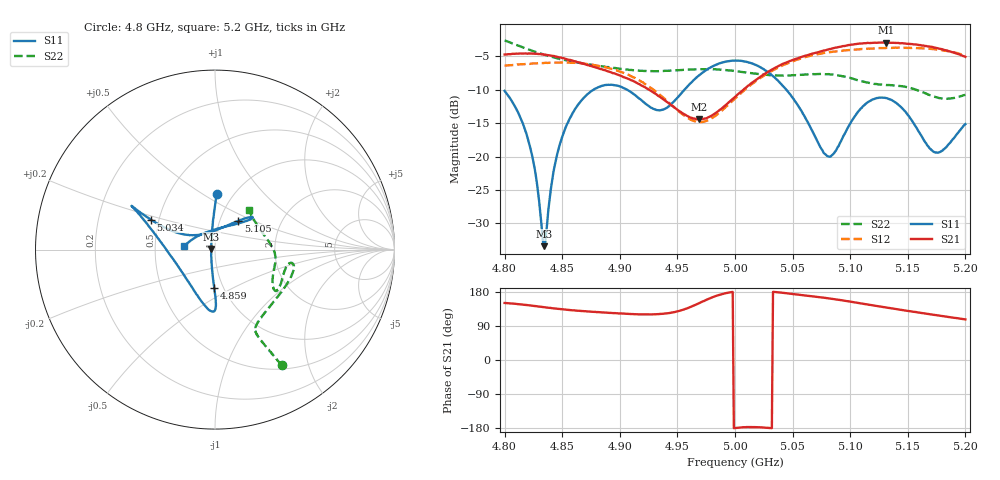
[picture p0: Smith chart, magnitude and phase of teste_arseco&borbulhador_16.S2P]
! Network Analyzer HP8722D
! Hewlett-Packard
! Data name: Linha & Wilkinson
! Saver's name: Rodrigo Anjos
! Comments: Teste da utilização de aquisição
! continua pelo VNA HP8722D
! Time and date: 15/4/2025 15:46
!  Frequency  S11  S21  S12  S22
# HZ  S  MA R 50
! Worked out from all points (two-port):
!   401 points, 4.8 GHz to 5.2 GHz, reference 50 ohm
!   highest |S21| = -2.91 dB at 5.131 GHz (marker M1); lowest = -14.4 dB at 4.969 GHz (marker M2)
!   |S21| within 3 dB of the highest: start of sweep to 4.865 GHz; 5.044 GHz to end of sweep
!   lowest |S11| = -33.4 dB at 4.834 GHz (marker M3), VSWR 1.04, Z = 47.9 + j0.356 ohm
!   |S11| at or under -10 dB: start of sweep to 4.877 GHz; 4.907 GHz to 4.956 GHz (49.45 MHz wide, 1 % of centre); 5.045 GHz to end of sweep
!   |S22| runs from -11.3 to -2.6 dB; largest |S21 - S12| = 1.3
!   S11 on the Smith chart (normalised r, x): 4.8 GHz: 0.84, +0.58; 4.859 GHz: 0.91, -0.40; 5.034 GHz: 0.45, +0.18; 5.105 GHz: 1.22, +0.41; 5.2 GHz: 0.70, +0.03
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4.8e9  0.311 88.3  0.5818 150.5  0.4816 -111.5  0.7415 -60.0
4.812e9  0.2118 91.3  0.59 147.4  0.4897 -111.1  0.677 -61.1
4.821e9  0.129 96.1  0.594 144.5  0.4962 -110.6  0.6332 -61.8
4.827e9  0.0733 104.7  0.5894 142.2  0.4993 -109.9  0.6079 -62.3
4.834e9  0.02139 170.0  0.5809 139.5  0.503 -109.5  0.5806 -62.8
4.836e9  0.02601 -144.7  0.5782 138.7  0.5049 -109.4  0.5745 -63.0
4.841e9  0.06408 -107.9  0.5695 136.7  0.5055 -109.1  0.5593 -63.3
4.845e9  0.09867 -100.2  0.5612 135.5  0.5058 -108.9  0.5469 -63.5
4.859e9  0.2117 -91.3  0.5246 131.1  0.5051 -108.7  0.5156 -63.8
4.867e9  0.2657 -89.4  0.501 129.2  0.4982 -108.6  0.5016 -63.3
4.895e9  0.3435 -93.5  0.4212 123.8  0.4482 -111.7  0.4611 -57.2
4.934e9  0.2228 -145.7  0.283 121.1  0.2953 -116.4  0.4369 -35.6
4.969e9  0.407 159.1  0.1903 150.2  0.1816 -85.7  0.452 -16.9
5e9  0.5249 152.4  0.2804 -179.5  0.2728 -49.9  0.4371 -9.9
5.034e9  0.395 154.9  0.4585 179.6  0.4485 -43.4  0.407 -15.3
5.067e9  0.1566 149.0  0.591 168.2  0.5748 -46.5  0.414 -29.3
5.083e9  0.1002 102.2  0.6397 161.7  0.607 -49.5  0.4121 -33.7
5.105e9  0.2066 50.9  0.6962 151.5  0.6353 -54.2  0.3771 -31.7
5.131e9  0.2748 40.2  0.7154 138.5  0.6523 -62.2  0.3442 -14.9
5.134e9  0.2695 40.1  0.7133 137.2  0.6523 -63.1  0.3438 -12.6
5.174e9  0.1076 103.9  0.6544 118.7  0.6352 -77.2  0.2795 20.0
5.2e9  0.1754 174.3  0.5587 107.1  0.5731 -86.1  0.2902 49.9
